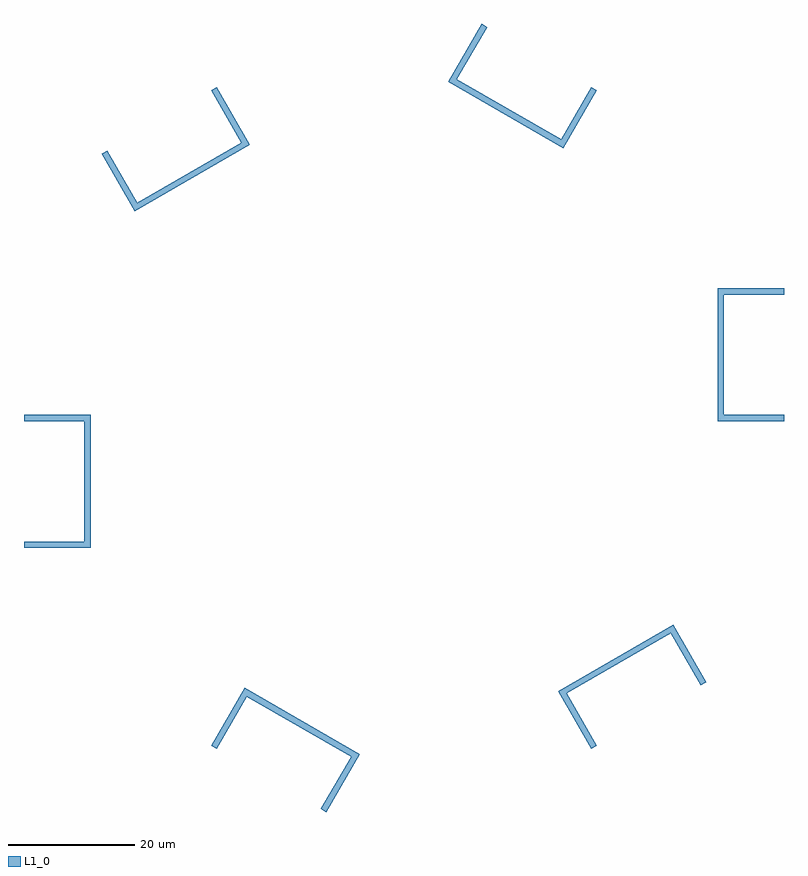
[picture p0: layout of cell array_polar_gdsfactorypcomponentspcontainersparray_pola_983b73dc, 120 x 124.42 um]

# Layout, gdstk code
from math import pi, radians
import gdstk
lib = gdstk.Library(unit=1e-6, precision=1e-09)
def P(c, l, *ps):  # polygons
    for p in ps: c.add(gdstk.Polygon(p, *l))
L1_0 = (1, 0)

c_gdsfactorypcomponentsp = lib.new_cell('C_gdsfactorypcomponentspshapespC_W1_S10_20_LWG_PTelectrical')
P(c_gdsfactorypcomponentsp, L1_0, [(-0.5,-0.5),(-0.5,-0.5),(-0.5,20.5),(10,20.5),(10,19.5),(0.5,19.5),(0.5,0.5),(10,0.5),(10,-0.5)])

array_polar_gdsfactorypc = lib.new_cell('array_polar_gdsfactorypcomponentspcontainersparray_pola_983b73dc')
array_polar_gdsfactorypc.add(gdstk.Reference(c_gdsfactorypcomponentsp, (50,0)))
array_polar_gdsfactorypc.add(gdstk.Reference(c_gdsfactorypcomponentsp, (25,43.301), rotation=radians(60)))
array_polar_gdsfactorypc.add(gdstk.Reference(c_gdsfactorypcomponentsp, (-25,43.301), rotation=radians(120)))
array_polar_gdsfactorypc.add(gdstk.Reference(c_gdsfactorypcomponentsp, (-50,0), rotation=pi))
array_polar_gdsfactorypc.add(gdstk.Reference(c_gdsfactorypcomponentsp, (-25,-43.301), rotation=radians(240)))
array_polar_gdsfactorypc.add(gdstk.Reference(c_gdsfactorypcomponentsp, (25,-43.301), rotation=radians(300)))

lib.write_gds('array_polar_gdsfactorypcomponentspcontainersparray_pola_983b73dc.gds')
